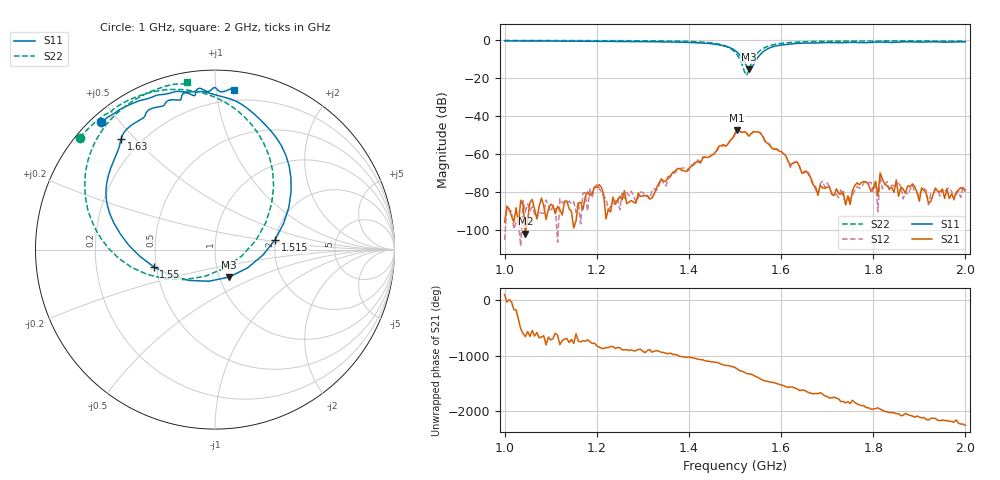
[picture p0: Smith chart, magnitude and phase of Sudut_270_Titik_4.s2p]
# Hz S RI R 50
! CMT, C1220, 16058040, 17.2.0/1
! Date: 14/08/2018 12:32:47
! Data: Format (Calibration Info)
! Freq  S11: Re/Im (F2)  S21: Re/Im (F2)  S12: Re/Im (F2)  S22: Re/Im (F2)
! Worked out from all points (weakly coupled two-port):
!   201 points, 1 GHz to 2 GHz, reference 50 ohm
!   highest |S21| = -47.42 dB at 1.505 GHz (marker M1); lowest = -101.8 dB at 1.045 GHz (marker M2)
!   lowest |S11| = -15.3 dB at 1.53 GHz (marker M3), VSWR 1.42, Z = 55.6 - j17.5 ohm
!   |S11| at or under -10 dB: 1.516 GHz to 1.547 GHz (30.86 MHz wide, 2.01 % of centre)
!   |S22| runs from -18.7 to -0.2 dB; largest |S21 - S12| = 0.00024
!   S11 on the Smith chart (normalised r, x): 1 GHz: 0.03, +0.45; 1.515 GHz: 1.98, +0.24; 1.55 GHz: 0.48, -0.11; 1.63 GHz: 0.13, +0.46; 2 GHz: 0.12, +1.12
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1e9  -0.6333 0.7083  -1.3e-06 1.62e-05  -1.68e-06 -5.27e-06  -0.7532 0.6238
1.045e9  -0.5951 0.7393  4.21e-06 6.93e-06  -2.55e-05 1.54e-05  -0.7222 0.6573
1.17e9  -0.4564 0.8156  3.37e-05 -7.82e-06  9.26e-05 -1.98e-05  -0.6173 0.749
1.335e9  -0.1921 0.8802  -0.000161 6.54e-05  -0.000138 5.94e-05  -0.4019 0.8634
1.45e9  0.1955 0.7745  0.000779 -0.000546  0.000763 -0.000558  0.0199 0.8396
1.5e9  0.4239 0.323  -0.00252 -0.0025  -0.00235 -0.00234  0.3267 0.3513
1.505e9  0.4118 0.2374  -0.00405 -0.0013  -0.00382 -0.00136  0.3151 0.2544
1.515e9  0.3344 0.0545  -0.00343 0.00142  -0.00345 0.00139  0.2285 0.0528
1.53e9  0.0788 -0.1529  -0.00104 0.00277  -0.00101 0.00279  -0.055 -0.1484
1.55e9  -0.3404 -0.0965  0.00266 0.00272  0.00259 0.00281  -0.4634 -0.1
1.62e9  -0.533 0.5751  -0.000304 -0.000412  -0.000267 -0.000356  -0.7073 0.4978
1.63e9  -0.5229 0.6174  -0.00051 -0.000344  -0.000468 -0.000394  -0.6924 0.5429
1.67e9  -0.4044 0.7305  -5.67e-05 0.00014  -7.9e-05 0.000127  -0.625 0.6705
1.75e9  -0.2675 0.8266  2.3e-05 -4.11e-05  4.85e-07 -7.15e-05  -0.4977 0.8001
1.78e9  -0.1958 0.8323  -4.16e-05 -0.000186  -3.44e-05 -0.000175  -0.4549 0.8298
1.795e9  -0.1868 0.8496  -0.000101 -2.88e-05  -0.000175 -4.93e-05  -0.4332 0.8423
1.8e9  -0.1846 0.8592  -0.000118 -4.05e-05  -7.8e-05 -6.52e-05  -0.4263 0.8467
1.805e9  -0.1801 0.867  -0.000174 -8.65e-05  -0.000116 -0.000144  -0.4195 0.8508
1.81e9  -0.173 0.8722  -6.2e-05 -5.16e-05  9.02e-06 2.92e-05  -0.4127 0.8547
1.815e9  -0.164 0.8735  -0.000308 -8.48e-05  -0.00026 5.34e-06  -0.4056 0.8583
1.835e9  -0.1208 0.8587  -8.39e-05 9.05e-05  -7.95e-05 8.39e-05  -0.3788 0.8716
2e9  0.1063 0.8916  -1.2e-05 -0.000112  -1.39e-05 -8.67e-05  -0.1553 0.9314
